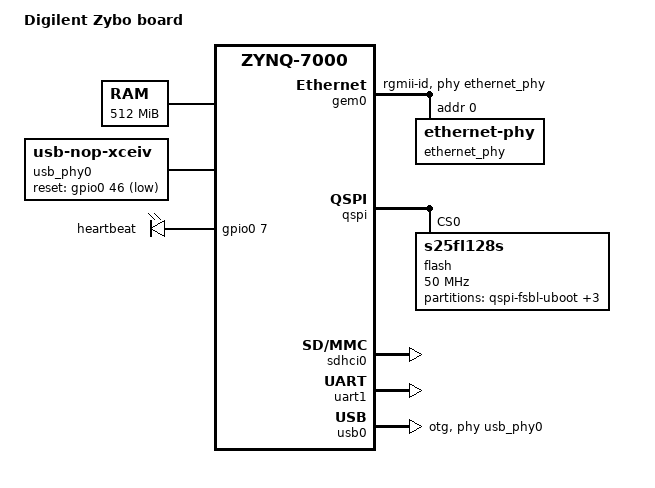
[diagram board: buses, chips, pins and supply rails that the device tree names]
// SPDX-License-Identifier: GPL-2.0
/*
 *  Copyright (C) 2011 - 2014 Xilinx
 *  Copyright (C) 2012 National Instruments Corp.
 */
/dts-v1/;
#include "zynq-7000.dtsi"

/ {
	model = "Digilent Zybo board";
	compatible = "digilent,zynq-zybo", "xlnx,zynq-7000";

	aliases {
		ethernet0 = &gem0;
		serial0 = &uart1;
		mmc0 = &sdhci0;
		spi0 = &qspi;
	};

	memory@0 {
		device_type = "memory";
		reg = <0x0 0x20000000>;
	};

	chosen {
		bootargs = "console=ttyPS0,115200 root=/dev/mmcblk0p2 ro earlycon rootwait clocksource=ttc_clocksource";
		stdout-path = "serial0:115200n8";
	};

	usb_phy0: phy0 {
		#phy-cells = <0>;
		compatible = "usb-nop-xceiv";
		reset-gpios = <&gpio0 46 1>;
	};

	gpio-leds {
		compatible = "gpio-leds";
		heartbeat {
			gpios = <&gpio0 7 0>;
			linux,default-trigger = "heartbeat";
		};
	};
};

&clkc {
	ps-clk-frequency = <50000000>;
};

&gem0 {
	status = "okay";
	phy-mode = "rgmii-id";
	phy-handle = <&ethernet_phy>;

	ethernet_phy: ethernet-phy@0 {
		reg = <0>;
		device_type = "ethernet-phy";
	};
};

&qspi {
	u-boot,dm-pre-reloc;
	status = "okay";
	#address-cells = <1>;
	#size-cells = <0>;

	flash@0 {
		compatible = "s25fl128s", "jedec,spi-nor";
		reg = <0>;
		#address-cells = <1>;
		#size-cells = <1>;
		spi-max-frequency = <50000000>;
		partition@0 {
			label = "qspi-fsbl-uboot";
			reg = <0x0 0x110000>;
		};
		partition@110000 {
			label = "qspi-devicetree";
			reg = <0x110000 0x10000>;
		};
		partition@120000 {
			label = "qspi-linux";
			reg = <0x120000 0x300000>;
		};
		partition@420000 {
			label = "qspi-ramdisk";
			reg = <0x420000 0x3e0000>;
		};
	};
};

&sdhci0 {
	status = "okay";
	disable-wp;
};

&uart1 {
	status = "okay";
};

&usb0 {
	status = "okay";
	dr_mode = "otg";
	usb-phy = <&usb_phy0>;
};
